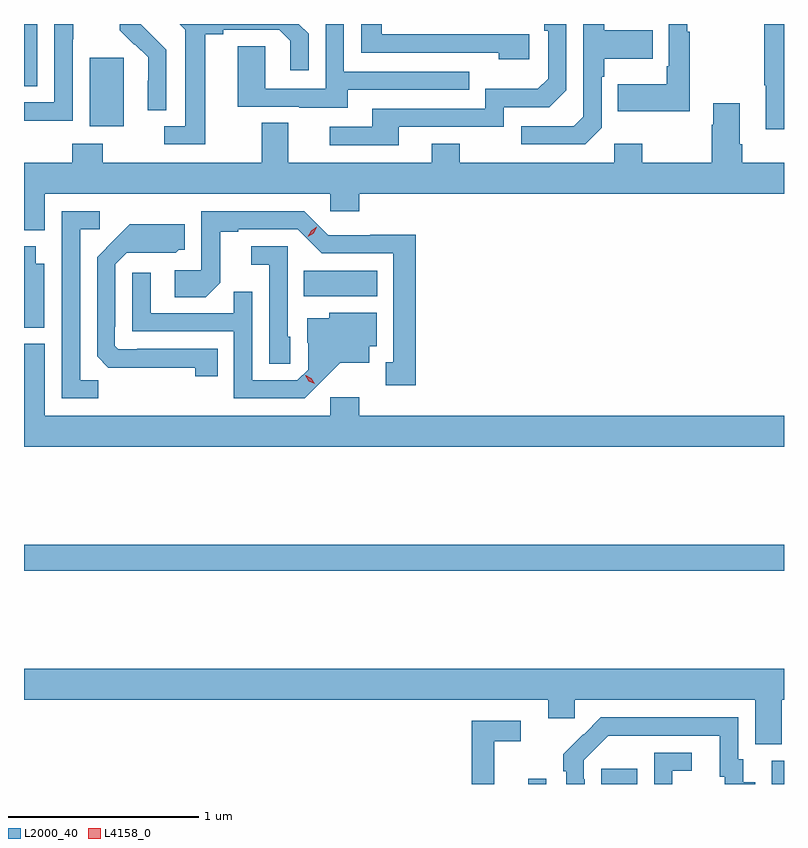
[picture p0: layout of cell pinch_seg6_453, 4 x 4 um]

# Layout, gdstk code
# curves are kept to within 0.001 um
import gdstk
lib = gdstk.Library(unit=1e-6, precision=1e-09)
def R(c, l, rs):  # rectangles x0, y0, x1, y1
    for r in rs: c.add(gdstk.rectangle(r[:2], r[2:], *l))
def P(c, l, *ps):  # polygons
    for p in ps: c.add(gdstk.Polygon(p, *l))
L2000_40 = (2000, 40)
L4158_0 = (4158, 0)

pinch_seg6_453 = lib.new_cell('pinch_seg6_453')
R(pinch_seg6_453, L2000_40, [(732.621,928.245,732.717,928.273), (733.007,928.245,733.195,928.324), (733.904,928.245,733.968,928.368), (729.968,929.368,733.968,929.504), (731.44,930.812,731.827,930.946), (730.313,931.706,730.492,932.067), (729.968,931.918,730.039,932.245)])
P(pinch_seg6_453, L2000_40, [(731.671,931.899),(732.311,931.899),(732.311,931.995),(731.652,931.995),(731.652,932.245),(731.556,932.245),(731.556,931.905),(731.238,931.905),(731.238,932.129),(731.093,932.129),(731.093,931.809),(731.417,931.809),(731.417,931.805),(731.671,931.805)],
  [(733.968,932.245),(733.864,932.245),(733.864,931.923),(733.871,931.923),(733.871,931.692),(733.968,931.692)],
  [(733.471,932.203),(733.459,932.203),(733.459,932.245),(733.362,932.245),(733.362,932.023),(733.35,932.023),(733.35,931.927),(733.093,931.927),(733.093,931.787),(733.471,931.787)],
  [(730.921,932.192),(731.017,932.192),(731.017,932.214),(731.312,932.214),(731.369,932.157),(731.369,932.001),(731.466,932.001),(731.466,932.194),(731.415,932.245),(730.787,932.245),(730.817,932.215),(730.817,931.707),(730.707,931.707),(730.707,931.611),(730.921,931.611)],
  [(733.008,931.698),(733.008,931.967),(733.021,931.967),(733.021,932.063),(733.277,932.063),(733.277,932.211),(733.021,932.211),(733.021,932.245),(732.912,932.245),(732.912,931.758),(732.861,931.707),(732.585,931.707),(732.585,931.611),(732.921,931.611)],
  [(731.941,931.704),(732.492,931.704),(732.492,931.806),(732.732,931.806),(732.822,931.896),(732.822,932.245),(732.706,932.245),(732.706,932.21),(732.726,932.21),(732.726,931.956),(732.673,931.903),(732.396,931.903),(732.396,931.8),(731.801,931.8),(731.801,931.704),(731.577,931.704),(731.577,931.608),(731.941,931.608)],
  [(732.628,932.19),(731.851,932.19),(731.851,932.245),(731.742,932.245),(731.742,932.094),(732.467,932.094),(732.467,932.06),(732.628,932.06)],
  [(730.716,932.11),(730.583,932.245),(730.471,932.245),(730.471,932.213),(730.548,932.136),(730.551,932.139),(730.622,932.069),(730.622,931.946),(730.62,931.946),(730.62,931.792),(730.716,931.792)],
  [(730.224,932.164),(730.227,932.164),(730.227,932.245),(730.128,932.245),(730.128,931.833),(729.968,931.833),(729.968,931.735),(730.224,931.735)],
  [(730.078,931.352),(731.58,931.352),(731.58,931.259),(731.732,931.259),(731.732,931.352),(733.968,931.352),(733.968,931.516),(733.748,931.516),(733.748,931.612),(733.735,931.612),(733.735,931.828),(733.595,931.828),(733.595,931.715),(733.588,931.715),(733.588,931.516),(733.221,931.516),(733.221,931.615),(733.074,931.615),(733.074,931.516),(732.261,931.516),(732.261,931.615),(732.113,931.615),(732.113,931.516),(731.359,931.516),(731.359,931.724),(731.219,931.724),(731.219,931.516),(730.383,931.516),(730.383,931.615),(730.223,931.615),(730.223,931.516),(729.968,931.516),(729.968,931.16),(730.078,931.16)],
  [(732.031,931.136),(731.79,931.136),(731.79,931.134),(731.568,931.134),(731.442,931.26),(730.902,931.26),(730.902,930.948),(730.761,930.948),(730.761,930.808),(730.925,930.808),(731.001,930.884),(731.001,931.152),(731.095,931.152),(731.095,931.164),(731.409,931.164),(731.535,931.038),(731.912,931.038),(731.912,930.465),(731.873,930.465),(731.873,930.345),(732.031,930.345)],
  [(730.359,930.371),(730.263,930.371),(730.263,931.164),(730.366,931.164),(730.366,931.26),(730.167,931.26),(730.167,930.276),(730.359,930.276)],
  [(730.988,930.537),(730.564,930.537),(730.564,930.534),(730.464,930.534),(730.446,930.552),(730.446,930.652),(730.449,930.652),(730.449,930.981),(730.509,931.041),(730.766,931.04),(730.782,931.056),(730.813,931.056),(730.813,931.192),(730.525,931.192),(730.353,931.018),(730.353,930.496),(730.412,930.437),(730.87,930.436),(730.87,930.39),(730.988,930.39)],
  [(730.075,930.982),(730.03,930.982),(730.03,931.075),(729.968,931.075),(729.968,930.647),(730.075,930.647)],
  [(731.37,930.6),(731.355,930.6),(731.355,931.074),(731.163,931.074),(731.163,930.977),(731.259,930.977),(731.259,930.457),(731.37,930.457)],
  [(731.53,930.359),(731.633,930.461),(731.785,930.461),(731.785,930.548),(731.824,930.548),(731.824,930.724),(731.574,930.724),(731.574,930.697),(731.459,930.697),(731.459,930.568),(731.463,930.568),(731.463,930.426),(731.406,930.369),(731.169,930.369),(731.169,930.836),(731.071,930.836),(731.071,930.723),(730.635,930.723),(730.635,930.937),(730.539,930.937),(730.539,930.627),(731.073,930.627),(731.073,930.276),(731.446,930.276)],
  [(733.968,930.184),(731.732,930.184),(731.732,930.28),(731.58,930.28),(731.58,930.184),(730.078,930.184),(730.078,930.562),(729.968,930.562),(729.968,930.02),(733.968,930.02)],
  [(733.957,928.688),(733.968,928.688),(733.968,928.852),(729.968,928.852),(729.968,928.688),(732.728,928.688),(732.728,928.59),(732.867,928.59),(732.867,928.688),(733.817,928.688),(733.817,928.453),(733.957,928.453)],
  [(732.918,928.271),(732.915,928.271),(732.915,928.371),(733.044,928.5),(733.631,928.5),(733.631,928.284),(733.655,928.284),(733.655,928.245),(733.816,928.245),(733.816,928.255),(733.753,928.255),(733.753,928.374),(733.728,928.374),(733.728,928.596),(733.004,928.596),(732.807,928.401),(732.807,928.313),(732.822,928.313),(732.822,928.245),(732.918,928.245)],
  [(732.443,928.47),(732.583,928.47),(732.583,928.578),(732.325,928.578),(732.325,928.245),(732.443,928.245)],
  [(733.38,928.314),(733.483,928.314),(733.483,928.41),(733.284,928.41),(733.284,928.245),(733.38,928.245)])
P(pinch_seg6_453, L4158_0, [(731.462,931.124),(731.462,931.125),(731.479,931.158),(731.51,931.177),(731.51,931.177),(731.51,931.177),(731.493,931.144),(731.462,931.124)],
  [(731.497,930.352),(731.467,930.366),(731.449,930.396),(731.449,930.396),(731.45,930.396),(731.48,930.381),(731.498,930.352),(731.498,930.352)])

lib.write_gds('pinch_seg6_453.gds')
